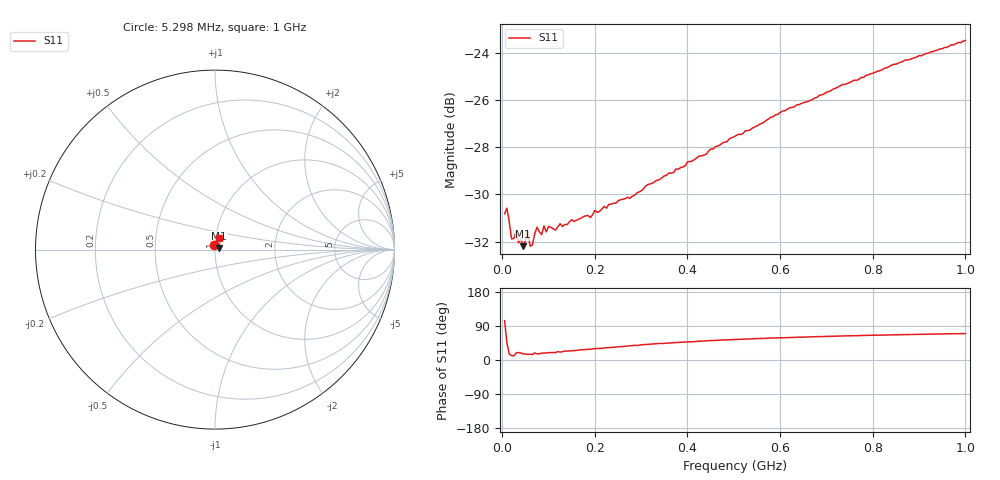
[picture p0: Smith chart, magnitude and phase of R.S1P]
!Agilent Technologies,E5071C,MY46520295,B.13.20
!Date: Fri Feb 09 08:22:01 2024
!Data & Calibration Information:
!Freq	S11:SOLT2(ON)
!PortZ  Port1:50+j0
!Above PortZ is port z conversion or system Z0 setting when saving the data.
!When reading, reference impedance value at option line is always used.
# Hz S RI R 50
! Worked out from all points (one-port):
!   200 points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, 5.298 MHz to 1 GHz, reference 50 ohm
!   lowest |S11| = -32.2 dB at 45.29 MHz (marker M1), VSWR 1.05, Z = 52.4 + j0.724 ohm
!   |S11| at or under -10 dB: start of sweep to end of sweep
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5298500  -0.00686 0.028
1.0297e7  0.0211 0.0207
2.0294e7  0.0249 0.00512
3.0291e7  0.025 0.00846
3.52895e7  0.0235 0.00838
4.0288e7  0.0242 0.00803
4.52865e7  0.0236 0.00691
5.52835e7  0.0256 0.00678
6.0282e7  0.0237 0.00641
6.52805e7  0.0239 0.0062
7.52775e7  0.0259 0.00747
8.52745e7  0.0248 0.00796
9.0273e7  0.0257 0.00862
9.52715e7  0.025 0.00839
1.0027e8  0.0255 0.00899
1.152655e8  0.0251 0.00885
1.252625e8  0.0256 0.00972
1.30261e8  0.0251 0.0101
1.50255e8  0.0254 0.0116
1.90243e8  0.025 0.0133
2.0024e8  0.0253 0.0147
2.552235e8  0.0252 0.0177
3.80186e8  0.0248 0.0258
5.051485e8  0.0246 0.0342
6.30111e8  0.0245 0.0418
7.550735e8  0.0239 0.0494
8.80036e8  0.0236 0.0563
1e9  0.0233 0.0628
